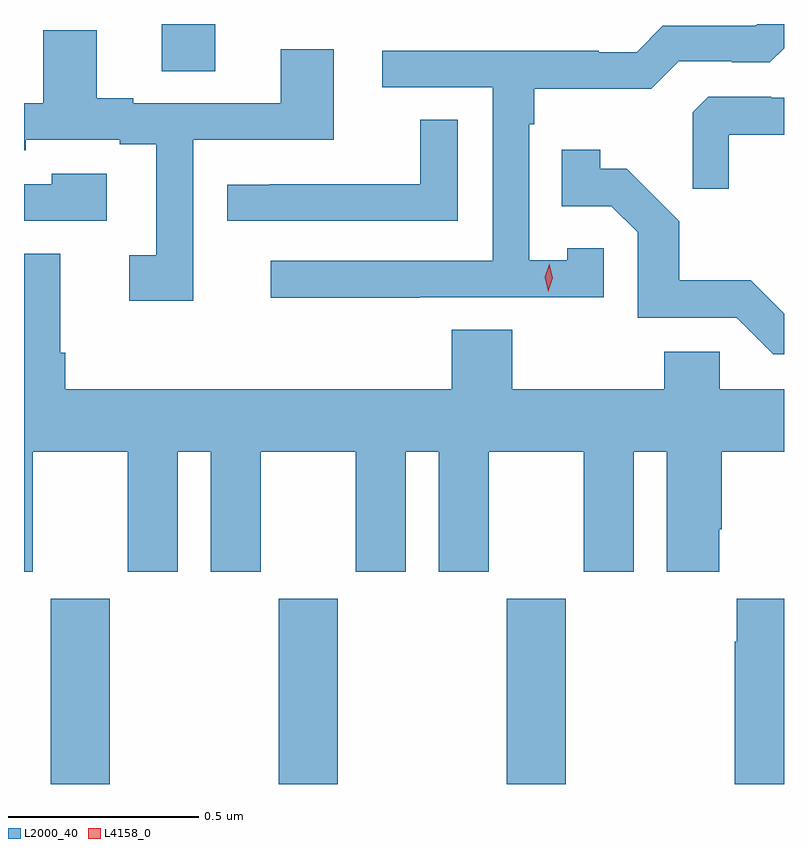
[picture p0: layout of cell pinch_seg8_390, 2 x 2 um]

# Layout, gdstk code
import gdstk
lib = gdstk.Library(unit=1e-6, precision=1e-09)
def R(c, l, rs):  # rectangles x0, y0, x1, y1
    for r in rs: c.add(gdstk.rectangle(r[:2], r[2:], *l))
def A(c, l, x, y, w, h, nx, ny, dx, dy):  # array of equal rectangles
    R(c, l, [(x+i*dx, y+j*dy, x+i*dx+w, y+j*dy+h) for i in range(nx) for j in range(ny)])
def P(c, l, *ps):  # polygons
    for p in ps: c.add(gdstk.Polygon(p, *l))
L2000_40 = (2000, 40)
L4158_0 = (4158, 0)

pinch_seg8_390 = lib.new_cell('pinch_seg8_390')
A(pinch_seg8_390, L2000_40, 478.099, 1084.989, 0.155, 0.487, 3, 1, 0.6, 0)
R(pinch_seg8_390, L2000_40, [(478.391,1086.865,478.531,1086.989)])
P(pinch_seg8_390, L2000_40, [(479.069,1086.27),(479.553,1086.27),(479.553,1086.399),(479.457,1086.399),(479.457,1086.367),(479.358,1086.367),(479.358,1086.725),(479.371,1086.725),(479.371,1086.818),(479.678,1086.818),(479.751,1086.891),(479.89,1086.891),(479.89,1086.888),(479.991,1086.888),(480.028,1086.925),(480.028,1086.989),(479.957,1086.989),(479.952,1086.984),(479.709,1086.984),(479.64,1086.915),(479.54,1086.915),(479.54,1086.918),(478.971,1086.918),(478.971,1086.822),(479.262,1086.822),(479.262,1086.366),(478.677,1086.366),(478.677,1086.268),(479.069,1086.268)],
  [(478.473,1086.684),(478.843,1086.684),(478.843,1086.923),(478.703,1086.923),(478.703,1086.78),(478.315,1086.78),(478.315,1086.793),(478.219,1086.793),(478.219,1086.973),(478.079,1086.973),(478.079,1086.78),(478.028,1086.78),(478.028,1086.657),(478.032,1086.657),(478.032,1086.684),(478.28,1086.684),(478.28,1086.672),(478.376,1086.672),(478.376,1086.381),(478.305,1086.381),(478.305,1086.261),(478.473,1086.261)],
  [(479.882,1086.698),(480.028,1086.698),(480.028,1086.795),(479.994,1086.795),(479.994,1086.798),(479.829,1086.798),(479.788,1086.757),(479.788,1086.555),(479.882,1086.555)],
  [(479.169,1086.737),(479.071,1086.737),(479.071,1086.567),(478.675,1086.567),(478.675,1086.566),(478.563,1086.566),(478.563,1086.471),(479.169,1086.471)],
  [(480.028,1086.227),(479.941,1086.315),(479.752,1086.315),(479.752,1086.47),(479.614,1086.608),(479.544,1086.608),(479.544,1086.658),(479.443,1086.658),(479.443,1086.51),(479.574,1086.51),(479.643,1086.441),(479.643,1086.216),(479.904,1086.216),(480,1086.12),(480.028,1086.12)],
  [(478.246,1086.595),(478.101,1086.595),(478.101,1086.567),(478.028,1086.567),(478.028,1086.471),(478.246,1086.471)],
  [(478.051,1085.864),(478.301,1085.864),(478.301,1085.547),(478.432,1085.547),(478.432,1085.864),(478.52,1085.864),(478.52,1085.547),(478.651,1085.547),(478.651,1085.864),(478.901,1085.864),(478.901,1085.547),(479.032,1085.547),(479.032,1085.864),(479.12,1085.864),(479.12,1085.547),(479.251,1085.547),(479.251,1085.864),(479.501,1085.864),(479.501,1085.547),(479.632,1085.547),(479.632,1085.864),(479.72,1085.864),(479.72,1085.547),(479.857,1085.547),(479.857,1085.659),(479.864,1085.659),(479.864,1085.864),(480.028,1085.864),(480.028,1086.028),(479.859,1086.028),(479.859,1086.126),(479.713,1086.126),(479.713,1086.028),(479.313,1086.028),(479.313,1086.185),(479.153,1086.185),(479.153,1086.028),(478.136,1086.028),(478.136,1086.124),(478.123,1086.124),(478.123,1086.385),(478.028,1086.385),(478.028,1085.547),(478.051,1085.547)],
  [(480.028,1085.476),(479.903,1085.476),(479.903,1085.363),(479.899,1085.363),(479.899,1084.989),(480.028,1084.989)])
P(pinch_seg8_390, L4158_0, [(479.408,1086.285),(479.408,1086.286),(479.399,1086.322),(479.41,1086.357),(479.41,1086.358),(479.41,1086.357),(479.419,1086.321),(479.408,1086.286)])

lib.write_gds('pinch_seg8_390.gds')
